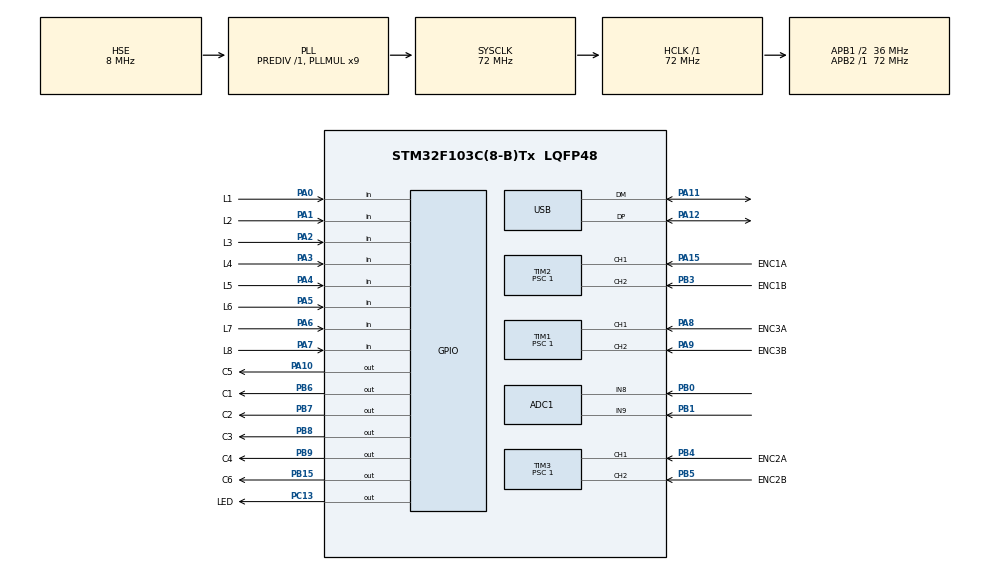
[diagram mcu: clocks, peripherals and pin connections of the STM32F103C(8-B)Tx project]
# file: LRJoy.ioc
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ADC1.Channel-0\#ChannelRegularConversion=ADC_CHANNEL_8
ADC1.Channel-1\#ChannelRegularConversion=ADC_CHANNEL_9
ADC1.ContinuousConvMode=ENABLE
ADC1.NbrOfConversion=2
ADC1.NbrOfConversionFlag=1
ADC1.Rank-0\#ChannelRegularConversion=1
ADC1.Rank-1\#ChannelRegularConversion=2
ADC1.SamplingTime-0\#ChannelRegularConversion=ADC_SAMPLETIME_71CYCLES_5
ADC1.SamplingTime-1\#ChannelRegularConversion=ADC_SAMPLETIME_71CYCLES_5
ADC1.master=1
Dma.ADC1.0.Direction=DMA_PERIPH_TO_MEMORY
Dma.ADC1.0.Instance=DMA1_Channel1
Dma.ADC1.0.MemDataAlignment=DMA_MDATAALIGN_HALFWORD
Dma.ADC1.0.MemInc=DMA_MINC_ENABLE
Dma.ADC1.0.Mode=DMA_CIRCULAR
Dma.ADC1.0.PeriphDataAlignment=DMA_PDATAALIGN_HALFWORD
Dma.ADC1.0.PeriphInc=DMA_PINC_DISABLE
Dma.ADC1.0.Priority=DMA_PRIORITY_LOW
Dma.Request0=ADC1
Mcu.Family=STM32F1
Mcu.Name=STM32F103C(8-B)Tx
Mcu.Package=LQFP48
NVIC.DMA1_Channel1_IRQn=true\:0\:0\:false\:false\:true\:false\:true
NVIC.PriorityGroup=NVIC_PRIORITYGROUP_4
NVIC.USB_LP_CAN1_RX0_IRQn=true\:0\:0\:false\:false\:true\:false\:true
PA0-WKUP.GPIO_Label=L1
PA0-WKUP.GPIO_PuPd=GPIO_PULLUP
PA0-WKUP.Signal=GPIO_Input
PA1.GPIO_Label=L2
PA1.GPIO_PuPd=GPIO_PULLUP
PA1.Signal=GPIO_Input
PA10.GPIO_Label=C5
PA10.GPIO_ModeDefaultOutputPP=GPIO_MODE_OUTPUT_OD
PA10.PinState=GPIO_PIN_SET
PA10.Signal=GPIO_Output
PA11.Mode=Device
PA11.Signal=USB_DM
PA12.Mode=Device
PA12.Signal=USB_DP
PA13.Mode=Serial_Wire
PA13.Signal=SYS_JTMS-SWDIO
PA14.Mode=Serial_Wire
PA14.Signal=SYS_JTCK-SWCLK
PA15.GPIO_Label=ENC1A
PA15.GPIO_PuPd=GPIO_PULLUP
PA15.Signal=S_TIM2_CH1_ETR
PA2.GPIO_Label=L3
PA2.GPIO_PuPd=GPIO_PULLUP
PA2.Signal=GPIO_Input
PA3.GPIO_Label=L4
PA3.GPIO_PuPd=GPIO_PULLUP
PA3.Signal=GPIO_Input
PA4.GPIO_Label=L5
PA4.GPIO_PuPd=GPIO_PULLUP
PA4.Signal=GPIO_Input
PA5.GPIO_Label=L6
PA5.GPIO_PuPd=GPIO_PULLUP
PA5.Signal=GPIO_Input
PA6.GPIO_Label=L7
PA6.GPIO_PuPd=GPIO_PULLUP
PA6.Signal=GPIO_Input
PA7.GPIO_Label=L8
PA7.GPIO_PuPd=GPIO_PULLUP
PA7.Signal=GPIO_Input
PA8.GPIO_Label=ENC3A
PA8.GPIO_PuPd=GPIO_PULLUP
PA8.Signal=S_TIM1_CH1
PA9.GPIO_Label=ENC3B
PA9.GPIO_PuPd=GPIO_PULLUP
PA9.Signal=S_TIM1_CH2
PB0.Signal=ADCx_IN8
PB1.Signal=ADCx_IN9
PB15.GPIO_Label=C6
PB15.GPIO_ModeDefaultOutputPP=GPIO_MODE_OUTPUT_OD
PB15.PinState=GPIO_PIN_SET
PB15.Signal=GPIO_Output
PB3.GPIO_Label=ENC1B
PB3.GPIO_PuPd=GPIO_PULLUP
PB3.Signal=S_TIM2_CH2
PB4.GPIO_Label=ENC2A
PB4.GPIO_PuPd=GPIO_PULLUP
PB4.Signal=S_TIM3_CH1
PB5.GPIO_Label=ENC2B
PB5.GPIO_PuPd=GPIO_PULLUP
PB5.Signal=S_TIM3_CH2
PB6.GPIO_Label=C1
PB6.GPIO_ModeDefaultOutputPP=GPIO_MODE_OUTPUT_OD
PB6.PinState=GPIO_PIN_SET
PB6.Signal=GPIO_Output
PB7.GPIO_Label=C2
PB7.GPIO_ModeDefaultOutputPP=GPIO_MODE_OUTPUT_OD
PB7.PinState=GPIO_PIN_SET
PB7.Signal=GPIO_Output
PB8.GPIO_Label=C3
PB8.GPIO_ModeDefaultOutputPP=GPIO_MODE_OUTPUT_OD
PB8.PinState=GPIO_PIN_SET
PB8.Signal=GPIO_Output
PB9.GPIO_Label=C4
PB9.GPIO_ModeDefaultOutputPP=GPIO_MODE_OUTPUT_OD
PB9.PinState=GPIO_PIN_SET
PB9.Signal=GPIO_Output
PC13-TAMPER-RTC.GPIO_Label=LED
PC13-TAMPER-RTC.GPIO_ModeDefaultOutputPP=GPIO_MODE_OUTPUT_OD
PC13-TAMPER-RTC.PinState=GPIO_PIN_SET
PC13-TAMPER-RTC.Signal=GPIO_Output
PC14-OSC32_IN.Mode=LSE-External-Oscillator
PC14-OSC32_IN.Signal=RCC_OSC32_IN
PC15-OSC32_OUT.Mode=LSE-External-Oscillator
PC15-OSC32_OUT.Signal=RCC_OSC32_OUT
PD0-OSC_IN.Mode=HSE-External-Oscillator
PD0-OSC_IN.Signal=RCC_OSC_IN
PD1-OSC_OUT.Mode=HSE-External-Oscillator
PD1-OSC_OUT.Signal=RCC_OSC_OUT
ProjectManager.HeapSize=0x200
ProjectManager.StackSize=0x400
ProjectManager.TargetToolchain=STM32CubeIDE
RCC.ADCPresc=RCC_ADCPCLK2_DIV6
RCC.AHBFreq_Value=72000000
RCC.APB1CLKDivider=RCC_HCLK_DIV2
RCC.APB1Freq_Value=36000000
RCC.APB1TimFreq_Value=72000000
RCC.APB2Freq_Value=72000000
RCC.APB2TimFreq_Value=72000000
RCC.HCLKFreq_Value=72000000
RCC.PLLMUL=RCC_PLL_MUL9
RCC.SYSCLKFreq_VALUE=72000000
RCC.SYSCLKSource=RCC_SYSCLKSOURCE_PLLCLK
RCC.USBFreq_Value=48000000
RCC.USBPrescaler=RCC_USBCLKSOURCE_PLL_DIV1_5
SH.ADCx_IN8.0=ADC1_IN8,IN8
SH.ADCx_IN9.0=ADC1_IN9,IN9
SH.S_TIM1_CH1.0=TIM1_CH1,Encoder_Interface
SH.S_TIM1_CH2.0=TIM1_CH2,Encoder_Interface
SH.S_TIM2_CH1_ETR.0=TIM2_CH1,Encoder_Interface
SH.S_TIM2_CH2.0=TIM2_CH2,Encoder_Interface
SH.S_TIM3_CH1.0=TIM3_CH1,Encoder_Interface
SH.S_TIM3_CH2.0=TIM3_CH2,Encoder_Interface
TIM1.EncoderMode=TIM_ENCODERMODE_TI1
TIM1.IC1Filter=15
TIM1.Period=65535
TIM1.Prescaler=1
TIM2.EncoderMode=TIM_ENCODERMODE_TI1
TIM2.IC1Filter=15
TIM2.Period=65535
TIM2.Prescaler=1
TIM3.EncoderMode=TIM_ENCODERMODE_TI1
TIM3.IC1Filter=15
TIM3.Period=65535
TIM3.Prescaler=1
USB_DEVICE.CLASS_NAME_FS=CUSTOM_HID
USB_DEVICE.MANUFACTURER_STRING=Dirac Eng
USB_DEVICE.PID_CUSTOMHID_FS=22354
USB_DEVICE.PRODUCT_STRING_CUSTOMHID_FS=LRJoy Keypad
USB_DEVICE.USBD_CUSTOMHID_OUTREPORT_BUF_SIZE=16
USB_DEVICE.USBD_CUSTOM_HID_REPORT_DESC_SIZE=72
USB_DEVICE.VirtualMode=CustomHid
USB_DEVICE.VirtualModeFS=Custom_Hid_FS
VP_USB_DEVICE_VS_USB_DEVICE_CUSTOM_HID_FS.Mode=CUSTOM_HID_FS
board=custom

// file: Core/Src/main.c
/* USER CODE BEGIN Header */
/**
 ******************************************************************************
 * @file           : main.c
 * @brief          : Main program body
 ******************************************************************************
 * @attention
 *
 * <h2><center>&copy; Copyright (c) 2020 STMicroelectronics.
 * All rights reserved.</center></h2>
 *
 * This software component is licensed by ST under BSD 3-Clause license,
 * the "License"; You may not use this file except in compliance with the
 * License. You may obtain a copy of the License at:
 *                        opensource.org/licenses/BSD-3-Clause
 *
 ******************************************************************************
 */
/* USER CODE END Header */
#include "main.h"
#include "usb_device.h"

ADC_HandleTypeDef hadc1;
DMA_HandleTypeDef hdma_adc1;

TIM_HandleTypeDef htim1;
TIM_HandleTypeDef htim2;
TIM_HandleTypeDef htim3;

void SystemClock_Config(void);
static void MX_GPIO_Init(void);
static void MX_DMA_Init(void);
static void MX_ADC1_Init(void);
static void MX_TIM2_Init(void);
static void MX_TIM3_Init(void);
static void MX_TIM1_Init(void);

int main(void)
{

  /* MCU Configuration--------------------------------------------------------*/

  /* Reset of all peripherals, Initializes the Flash interface and the Systick. */
  HAL_Init();

  /* Configure the system clock */
  SystemClock_Config();

  /* Initialize all configured peripherals */
  MX_GPIO_Init();
  MX_DMA_Init();
  MX_USB_DEVICE_Init();
  MX_ADC1_Init();
  MX_TIM2_Init();
  MX_TIM3_Init();
  MX_TIM1_Init();

  /* Infinite loop */
  /* USER CODE BEGIN WHILE */

  uint16_t axis[3]={0,0,0};

	typedef struct __attribute__((__packed__)){
		uint16_t x;
		uint16_t y;
		uint16_t z;
		uint32_t buttons;
		uint16_t buttons2;
	} LRJoyReport;

	LRJoyReport report;
	report.buttons=0;
	HAL_ADC_Start_DMA(&hadc1, (uint32_t*)&axis, 2);
	HAL_TIM_Encoder_Start(&htim1, TIM_CHANNEL_ALL);
	HAL_TIM_Encoder_Start(&htim2, TIM_CHANNEL_ALL);
	HAL_TIM_Encoder_Start(&htim3, TIM_CHANNEL_ALL);

	uint8_t updown=0;
	int16_t encoder[3]={0,0,0};
	int16_t encodert[3]={0,0,0};

	while (1)
	{
    /* USER CODE END WHILE */

    /* USER CODE BEGIN 3 */
		uint32_t buttons=0;

		HAL_GPIO_WritePin(C1_GPIO_Port, C1_Pin, GPIO_PIN_RESET);
		HAL_Delay(1);
		buttons=(buttons & 0xffffff00) | (~GPIOA->IDR & 0xff);
		HAL_GPIO_WritePin(C1_GPIO_Port, C1_Pin, GPIO_PIN_SET);

		HAL_GPIO_WritePin(C2_GPIO_Port, C2_Pin, GPIO_PIN_RESET);
		HAL_Delay(1);
		buttons=(buttons & 0xffff00ff) | (~GPIOA->IDR & 0xff)<<8;
		HAL_GPIO_WritePin(C2_GPIO_Port, C2_Pin, GPIO_PIN_SET);

		HAL_GPIO_WritePin(C3_GPIO_Port, C3_Pin, GPIO_PIN_RESET);
		HAL_Delay(1);
		buttons=(buttons & 0xff00ffff) | (~GPIOA->IDR & 0xff)<<16;
		HAL_GPIO_WritePin(C3_GPIO_Port, C3_Pin, GPIO_PIN_SET);

		HAL_GPIO_WritePin(C4_GPIO_Port, C4_Pin, GPIO_PIN_RESET);
		HAL_Delay(1);
		buttons=(buttons & 0x00ffffff) | (~GPIOA->IDR & 0xff)<<24;
		HAL_GPIO_WritePin(C4_GPIO_Port, C4_Pin, GPIO_PIN_SET);

		HAL_GPIO_WritePin(C5_GPIO_Port, C5_Pin, GPIO_PIN_RESET);
		HAL_Delay(1);
		report.buttons2=(report.buttons2 & 0xff00) | (~GPIOA->IDR & 0xff);
		HAL_GPIO_WritePin(C5_GPIO_Port, C5_Pin, GPIO_PIN_SET);

		report.x=axis[0];
		report.y=axis[1];
		report.z=axis[2];

		encodert[0]=TIM1->CNT;
		encodert[1]=TIM2->CNT;
		encodert[2]=TIM3->CNT;

		if(updown==0){
			for(uint8_t i=0;i<3;i++){
				if(encoder[i]-encodert[i]>0){
					report.buttons2 |= (1<<(i*2+8));
					encoder[i]--;
				} else if(encoder[i]-encodert[i]<0){
					report.buttons2 |= (1<<(i*2+9));
					encoder[i]++;
				}
			}
		} else if(updown==3){
			report.buttons2 &= 0x00ff;
		}
		updown++;
		updown=updown%6;

		report.buttons=0;
		static const uint8_t mapping[32]={
				26, 18, 10, 27, 19, 11, 28, 20,
				12, 21, 29, 13,  1,  2,  3,  4,
				 5, 25, 17,  9, 32, 30, 22, 14,
				15, 23, 31,  6, 24, 16,  8,  7
		};
		for(uint8_t i=0;i<32;i++){
			if(buttons & (1<<(mapping[i]-1))){
				report.buttons|=(1<<i);
			}
		}

		USBD_CUSTOM_HID_SendReport_FS(&report, sizeof(report));
		HAL_Delay(10);
	}
  /* USER CODE END 3 */
}

void SystemClock_Config(void)
{
  RCC_OscInitTypeDef RCC_OscInitStruct = {0};
  RCC_ClkInitTypeDef RCC_ClkInitStruct = {0};
  RCC_PeriphCLKInitTypeDef PeriphClkInit = {0};

  /** Initializes the RCC Oscillators according to the specified parameters
  * in the RCC_OscInitTypeDef structure.
  */
  RCC_OscInitStruct.OscillatorType = RCC_OSCILLATORTYPE_HSE;
  RCC_OscInitStruct.HSEState = RCC_HSE_ON;
  RCC_OscInitStruct.HSEPredivValue = RCC_HSE_PREDIV_DIV1;
  RCC_OscInitStruct.HSIState = RCC_HSI_ON;
  RCC_OscInitStruct.PLL.PLLState = RCC_PLL_ON;
  RCC_OscInitStruct.PLL.PLLSource = RCC_PLLSOURCE_HSE;
  RCC_OscInitStruct.PLL.PLLMUL = RCC_PLL_MUL9;
  if (HAL_RCC_OscConfig(&RCC_OscInitStruct) != HAL_OK)
  {
    Error_Handler();
  }
  /** Initializes the CPU, AHB and APB buses clocks
  */
  RCC_ClkInitStruct.ClockType = RCC_CLOCKTYPE_HCLK|RCC_CLOCKTYPE_SYSCLK
                              |RCC_CLOCKTYPE_PCLK1|RCC_CLOCKTYPE_PCLK2;
  RCC_ClkInitStruct.SYSCLKSource = RCC_SYSCLKSOURCE_PLLCLK;
  RCC_ClkInitStruct.AHBCLKDivider = RCC_SYSCLK_DIV1;
  RCC_ClkInitStruct.APB1CLKDivider = RCC_HCLK_DIV2;
  RCC_ClkInitStruct.APB2CLKDivider = RCC_HCLK_DIV1;

  if (HAL_RCC_ClockConfig(&RCC_ClkInitStruct, FLASH_LATENCY_2) != HAL_OK)
  {
    Error_Handler();
  }
  PeriphClkInit.PeriphClockSelection = RCC_PERIPHCLK_ADC|RCC_PERIPHCLK_USB;
  PeriphClkInit.AdcClockSelection = RCC_ADCPCLK2_DIV6;
  PeriphClkInit.UsbClockSelection = RCC_USBCLKSOURCE_PLL_DIV1_5;
  if (HAL_RCCEx_PeriphCLKConfig(&PeriphClkInit) != HAL_OK)
  {
    Error_Handler();
  }
}

static void MX_ADC1_Init(void)
{

  ADC_ChannelConfTypeDef sConfig = {0};

  /** Common config
  */
  hadc1.Instance = ADC1;
  hadc1.Init.ScanConvMode = ADC_SCAN_ENABLE;
  hadc1.Init.ContinuousConvMode = ENABLE;
  hadc1.Init.DiscontinuousConvMode = DISABLE;
  hadc1.Init.ExternalTrigConv = ADC_SOFTWARE_START;
  hadc1.Init.DataAlign = ADC_DATAALIGN_RIGHT;
  hadc1.Init.NbrOfConversion = 2;
  if (HAL_ADC_Init(&hadc1) != HAL_OK)
  {
    Error_Handler();
  }
  /** Configure Regular Channel
  */
  sConfig.Channel = ADC_CHANNEL_8;
  sConfig.Rank = ADC_REGULAR_RANK_1;
  sConfig.SamplingTime = ADC_SAMPLETIME_71CYCLES_5;
  if (HAL_ADC_ConfigChannel(&hadc1, &sConfig) != HAL_OK)
  {
    Error_Handler();
  }
  /** Configure Regular Channel
  */
  sConfig.Channel = ADC_CHANNEL_9;
  sConfig.Rank = ADC_REGULAR_RANK_2;
  if (HAL_ADC_ConfigChannel(&hadc1, &sConfig) != HAL_OK)
  {
    Error_Handler();
  }

}

static void MX_TIM1_Init(void)
{

  TIM_Encoder_InitTypeDef sConfig = {0};
  TIM_MasterConfigTypeDef sMasterConfig = {0};

  htim1.Instance = TIM1;
  htim1.Init.Prescaler = 1;
  htim1.Init.CounterMode = TIM_COUNTERMODE_UP;
  htim1.Init.Period = 65535;
  htim1.Init.ClockDivision = TIM_CLOCKDIVISION_DIV1;
  htim1.Init.RepetitionCounter = 0;
  htim1.Init.AutoReloadPreload = TIM_AUTORELOAD_PRELOAD_DISABLE;
  sConfig.EncoderMode = TIM_ENCODERMODE_TI1;
  sConfig.IC1Polarity = TIM_ICPOLARITY_RISING;
  sConfig.IC1Selection = TIM_ICSELECTION_DIRECTTI;
  sConfig.IC1Prescaler = TIM_ICPSC_DIV1;
  sConfig.IC1Filter = 15;
  sConfig.IC2Polarity = TIM_ICPOLARITY_RISING;
  sConfig.IC2Selection = TIM_ICSELECTION_DIRECTTI;
  sConfig.IC2Prescaler = TIM_ICPSC_DIV1;
  sConfig.IC2Filter = 0;
  if (HAL_TIM_Encoder_Init(&htim1, &sConfig) != HAL_OK)
  {
    Error_Handler();
  }
  sMasterConfig.MasterOutputTrigger = TIM_TRGO_RESET;
  sMasterConfig.MasterSlaveMode = TIM_MASTERSLAVEMODE_DISABLE;
  if (HAL_TIMEx_MasterConfigSynchronization(&htim1, &sMasterConfig) != HAL_OK)
  {
    Error_Handler();
  }

}

static void MX_TIM2_Init(void)
{

  TIM_Encoder_InitTypeDef sConfig = {0};
  TIM_MasterConfigTypeDef sMasterConfig = {0};

  htim2.Instance = TIM2;
  htim2.Init.Prescaler = 1;
  htim2.Init.CounterMode = TIM_COUNTERMODE_UP;
  htim2.Init.Period = 65535;
  htim2.Init.ClockDivision = TIM_CLOCKDIVISION_DIV1;
  htim2.Init.AutoReloadPreload = TIM_AUTORELOAD_PRELOAD_DISABLE;
  sConfig.EncoderMode = TIM_ENCODERMODE_TI1;
  sConfig.IC1Polarity = TIM_ICPOLARITY_RISING;
  sConfig.IC1Selection = TIM_ICSELECTION_DIRECTTI;
  sConfig.IC1Prescaler = TIM_ICPSC_DIV1;
  sConfig.IC1Filter = 15;
  sConfig.IC2Polarity = TIM_ICPOLARITY_RISING;
  sConfig.IC2Selection = TIM_ICSELECTION_DIRECTTI;
  sConfig.IC2Prescaler = TIM_ICPSC_DIV1;
  sConfig.IC2Filter = 0;
  if (HAL_TIM_Encoder_Init(&htim2, &sConfig) != HAL_OK)
  {
    Error_Handler();
  }
  sMasterConfig.MasterOutputTrigger = TIM_TRGO_RESET;
  sMasterConfig.MasterSlaveMode = TIM_MASTERSLAVEMODE_DISABLE;
  if (HAL_TIMEx_MasterConfigSynchronization(&htim2, &sMasterConfig) != HAL_OK)
  {
    Error_Handler();
  }

}

static void MX_TIM3_Init(void)
{

  TIM_Encoder_InitTypeDef sConfig = {0};
  TIM_MasterConfigTypeDef sMasterConfig = {0};

  htim3.Instance = TIM3;
  htim3.Init.Prescaler = 1;
  htim3.Init.CounterMode = TIM_COUNTERMODE_UP;
  htim3.Init.Period = 65535;
  htim3.Init.ClockDivision = TIM_CLOCKDIVISION_DIV1;
  htim3.Init.AutoReloadPreload = TIM_AUTORELOAD_PRELOAD_DISABLE;
  sConfig.EncoderMode = TIM_ENCODERMODE_TI1;
  sConfig.IC1Polarity = TIM_ICPOLARITY_RISING;
  sConfig.IC1Selection = TIM_ICSELECTION_DIRECTTI;
  sConfig.IC1Prescaler = TIM_ICPSC_DIV1;
  sConfig.IC1Filter = 15;
  sConfig.IC2Polarity = TIM_ICPOLARITY_RISING;
  sConfig.IC2Selection = TIM_ICSELECTION_DIRECTTI;
  sConfig.IC2Prescaler = TIM_ICPSC_DIV1;
  sConfig.IC2Filter = 0;
  if (HAL_TIM_Encoder_Init(&htim3, &sConfig) != HAL_OK)
  {
    Error_Handler();
  }
  sMasterConfig.MasterOutputTrigger = TIM_TRGO_RESET;
  sMasterConfig.MasterSlaveMode = TIM_MASTERSLAVEMODE_DISABLE;
  if (HAL_TIMEx_MasterConfigSynchronization(&htim3, &sMasterConfig) != HAL_OK)
  {
    Error_Handler();
  }

}

static void MX_DMA_Init(void)
{

  /* DMA controller clock enable */
  __HAL_RCC_DMA1_CLK_ENABLE();

  /* DMA interrupt init */
  /* DMA1_Channel1_IRQn interrupt configuration */
  HAL_NVIC_SetPriority(DMA1_Channel1_IRQn, 0, 0);
  HAL_NVIC_EnableIRQ(DMA1_Channel1_IRQn);

}

static void MX_GPIO_Init(void)
{
  GPIO_InitTypeDef GPIO_InitStruct = {0};

  /* GPIO Ports Clock Enable */
  __HAL_RCC_GPIOC_CLK_ENABLE();
  __HAL_RCC_GPIOD_CLK_ENABLE();
  __HAL_RCC_GPIOA_CLK_ENABLE();
  __HAL_RCC_GPIOB_CLK_ENABLE();

  /*Configure GPIO pin Output Level */
  HAL_GPIO_WritePin(LED_GPIO_Port, LED_Pin, GPIO_PIN_SET);

  /*Configure GPIO pin Output Level */
  HAL_GPIO_WritePin(GPIOB, C6_Pin|C1_Pin|C2_Pin|C3_Pin
                          |C4_Pin, GPIO_PIN_SET);

  /*Configure GPIO pin Output Level */
  HAL_GPIO_WritePin(C5_GPIO_Port, C5_Pin, GPIO_PIN_SET);

  /*Configure GPIO pin : LED_Pin */
  GPIO_InitStruct.Pin = LED_Pin;
  GPIO_InitStruct.Mode = GPIO_MODE_OUTPUT_OD;
  GPIO_InitStruct.Pull = GPIO_NOPULL;
  GPIO_InitStruct.Speed = GPIO_SPEED_FREQ_LOW;
  HAL_GPIO_Init(LED_GPIO_Port, &GPIO_InitStruct);

  /*Configure GPIO pins : L1_Pin L2_Pin L3_Pin L4_Pin
                           L5_Pin L6_Pin L7_Pin L8_Pin */
  GPIO_InitStruct.Pin = L1_Pin|L2_Pin|L3_Pin|L4_Pin
                          |L5_Pin|L6_Pin|L7_Pin|L8_Pin;
  GPIO_InitStruct.Mode = GPIO_MODE_INPUT;
  GPIO_InitStruct.Pull = GPIO_PULLUP;
  HAL_GPIO_Init(GPIOA, &GPIO_InitStruct);

  /*Configure GPIO pins : C6_Pin C1_Pin C2_Pin C3_Pin
                           C4_Pin */
  GPIO_InitStruct.Pin = C6_Pin|C1_Pin|C2_Pin|C3_Pin
                          |C4_Pin;
  GPIO_InitStruct.Mode = GPIO_MODE_OUTPUT_OD;
  GPIO_InitStruct.Pull = GPIO_NOPULL;
  GPIO_InitStruct.Speed = GPIO_SPEED_FREQ_LOW;
  HAL_GPIO_Init(GPIOB, &GPIO_InitStruct);

  /*Configure GPIO pin : C5_Pin */
  GPIO_InitStruct.Pin = C5_Pin;
  GPIO_InitStruct.Mode = GPIO_MODE_OUTPUT_OD;
  GPIO_InitStruct.Pull = GPIO_NOPULL;
  GPIO_InitStruct.Speed = GPIO_SPEED_FREQ_LOW;
  HAL_GPIO_Init(C5_GPIO_Port, &GPIO_InitStruct);

}

void Error_Handler(void)
{
}

/************************ (C) COPYRIGHT STMicroelectronics *****END OF FILE****/
